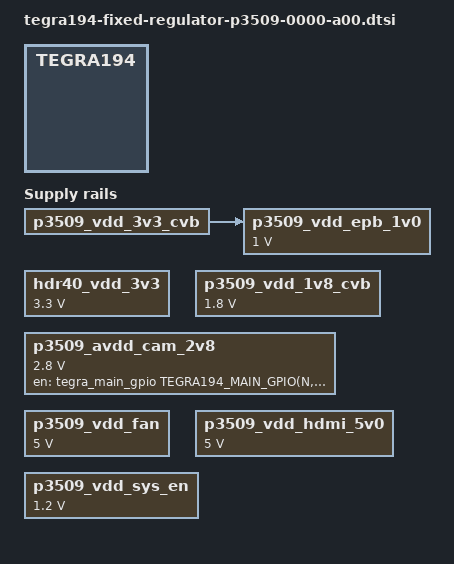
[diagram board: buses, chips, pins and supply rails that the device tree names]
/*
 * Copyright (c) 2019, NVIDIA CORPORATION.  All rights reserved.
 *
 * This program is free software; you can redistribute it and/or modify
 * it under the terms of the GNU General Public License as published by
 * the Free Software Foundation; either version 2 of the License, or
 * (at your option) any later version.
 *
 * This program is distributed in the hope that it will be useful, but WITHOUT
 * ANY WARRANTY; without even the implied warranty of MERCHANTABILITY or
 * FITNESS FOR A PARTICULAR PURPOSE.  See the GNU General Public License for
 * more details.
 */

#include <dt-bindings/gpio/tegra194-gpio.h>

/ {
	fixed-regulators {
		hdr40_vdd_3v3: p3509_vdd_3v3_cvb: regulator@101 {
			compatible = "regulator-fixed";
			reg = <101>;
			regulator-name = "vdd-3v3-cvb";
			regulator-min-microvolt = <3300000>;
			regulator-max-microvolt = <3300000>;
		};

		p3509_vdd_1v8_cvb: regulator@102 {
			compatible = "regulator-fixed";
			reg = <102>;
			regulator-name = "vdd-1v8-cvb";
			regulator-min-microvolt = <1800000>;
			regulator-max-microvolt = <1800000>;
		};

		/* No device using "p3509_vdd_epb_1v0" regulator */
		p3509_vdd_epb_1v0: regulator@105 {
			compatible = "regulator-fixed";
			reg = <105>;
			regulator-name = "vdd-epb-1v0";
			regulator-min-microvolt = <1000000>;
			regulator-max-microvolt = <1000000>;
			vin-supply = <&p3509_vdd_3v3_cvb>;
		};

		/* P3509 board need only VDD_3V3_SYS regulator, this regulator is not needed */
		p3509_avdd_cam_2v8: regulator@107 {
			compatible = "regulator-fixed";
			reg = <107>;
			regulator-name = "avdd-cam-2v8";
			regulator-min-microvolt = <2800000>;
			regulator-max-microvolt = <2800000>;
			gpio = <&tegra_main_gpio TEGRA194_MAIN_GPIO(N, 0) 0>;
			enable-active-high;
		};

		p3509_vdd_fan: regulator@111 {
			compatible = "regulator-fixed";
			reg = <111>;
			regulator-name = "vdd-fan";
			regulator-min-microvolt = <5000000>;
			regulator-max-microvolt = <5000000>;
		};

		/* SOC_PWR_REQ->MOD_SLEEP->VDD_3V3_HDMI->VDD_5V0_HDMI_CN */
		p3509_vdd_hdmi_5v0: regulator@112 {
			compatible = "regulator-fixed";
			reg = <112>;
			regulator-name = "vdd-hdmi-5v0";
			regulator-min-microvolt = <5000000>;
			regulator-max-microvolt = <5000000>;
			enable-active-high;
		};

		/* this regulator used for camera, AVDD_CSI_1V2 is directly
		 * coming from MAX20024, not required gpio */
		p3509_vdd_sys_en: regulator@113 {
			compatible = "regulator-fixed";
			reg = <113>;
			regulator-name = "vdd_sys_en";
			regulator-min-microvolt = <1200000>;
			regulator-max-microvolt = <1200000>;
			enable-active-high;
		};
	};
};
